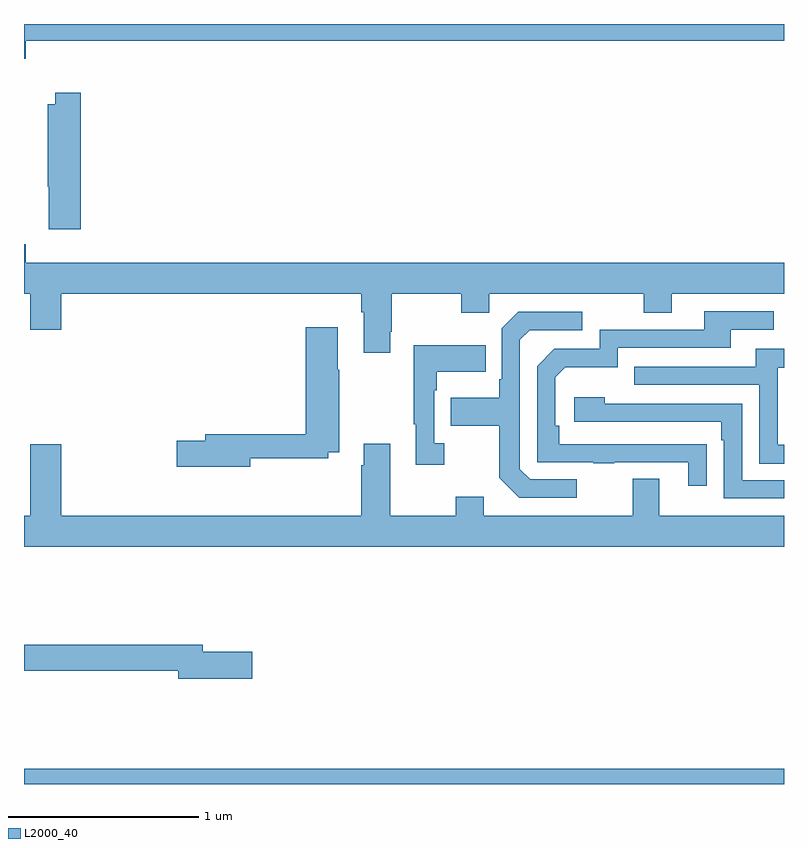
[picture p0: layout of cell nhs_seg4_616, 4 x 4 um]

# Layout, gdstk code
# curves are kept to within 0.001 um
import gdstk
lib = gdstk.Library(unit=1e-6, precision=1e-09)
def R(c, l, rs):  # rectangles x0, y0, x1, y1
    for r in rs: c.add(gdstk.rectangle(r[:2], r[2:], *l))
def P(c, l, *ps):  # polygons
    for p in ps: c.add(gdstk.Polygon(p, *l))
L2000_40 = (2000, 40)

nhs_seg4_616 = lib.new_cell('nhs_seg4_616')
R(nhs_seg4_616, L2000_40, [(141,800.9,145,800.98)])
P(nhs_seg4_616, L2000_40, [(141.008,804.812),(145,804.812),(145,804.9),(141,804.9),(141,804.716),(141.008,804.716)],
  [(141.299,804.538),(141.164,804.538),(141.164,804.478),(141.124,804.478),(141.124,804.043),(141.131,804.043),(141.131,803.82),(141.299,803.82)],
  [(142.927,803.281),(142.935,803.281),(142.935,803.48),(143.302,803.48),(143.302,803.381),(143.448,803.381),(143.448,803.48),(144.262,803.48),(144.262,803.381),(144.409,803.381),(144.409,803.48),(145,803.48),(145,803.644),(141.008,803.644),(141.008,803.74),(141,803.74),(141,803.48),(141.032,803.48),(141.032,803.292),(141.196,803.292),(141.196,803.48),(142.775,803.48),(142.775,803.384),(142.787,803.384),(142.787,803.169),(142.927,803.169)],
  [(144.593,802.688),(143.816,802.689),(143.816,802.786),(143.796,802.786),(143.796,803.04),(143.849,803.093),(144.126,803.093),(144.126,803.196),(144.721,803.196),(144.721,803.292),(144.946,803.292),(144.946,803.388),(144.581,803.388),(144.581,803.292),(144.03,803.292),(144.03,803.19),(143.79,803.19),(143.7,803.1),(143.7,802.593),(143.995,802.593),(143.995,802.588),(144.107,802.588),(144.107,802.593),(144.497,802.593),(144.497,802.47),(144.593,802.47)],
  [(143.908,802.503),(143.664,802.503),(143.61,802.557),(143.61,803.238),(143.661,803.289),(143.938,803.289),(143.938,803.385),(143.601,803.385),(143.514,803.298),(143.514,803.029),(143.502,803.029),(143.502,802.933),(143.245,802.933),(143.245,802.786),(143.502,802.786),(143.502,802.513),(143.607,802.407),(143.908,802.407)],
  [(142.192,802.614),(142.602,802.614),(142.602,802.646),(142.659,802.646),(142.659,803.081),(142.651,803.081),(142.651,803.305),(142.484,803.305),(142.484,802.742),(141.953,802.742),(141.953,802.706),(141.804,802.706),(141.804,802.571),(142.192,802.571)],
  [(143.212,802.694),(143.16,802.694),(143.16,802.973),(143.173,802.973),(143.173,803.069),(143.429,803.069),(143.429,803.209),(143.052,803.209),(143.052,802.793),(143.063,802.793),(143.063,802.581),(143.212,802.581)],
  [(145,802.686),(144.966,802.686),(144.966,803.091),(145,803.091),(145,803.191),(144.851,803.191),(144.851,803.097),(144.211,803.097),(144.211,803.001),(144.87,803.001),(144.87,802.585),(145,802.585)],
  [(145,802.5),(144.78,802.5),(144.78,802.902),(144.056,802.902),(144.056,802.936),(143.895,802.936),(143.895,802.806),(144.671,802.806),(144.671,802.709),(144.684,802.709),(144.684,802.404),(145,802.404)],
  [(145,802.312),(144.343,802.312),(144.343,802.507),(144.203,802.507),(144.203,802.312),(143.419,802.312),(143.419,802.411),(143.272,802.411),(143.272,802.312),(142.927,802.312),(142.927,802.69),(142.787,802.69),(142.787,802.577),(142.775,802.577),(142.775,802.312),(141.196,802.312),(141.196,802.687),(141.032,802.687),(141.032,802.312),(141,802.312),(141,802.148),(145,802.148)],
  [(142.201,801.596),(141.94,801.596),(141.94,801.632),(141,801.632),(141,801.496),(141.812,801.496),(141.812,801.454),(142.201,801.454)])

lib.write_gds('nhs_seg4_616.gds')
